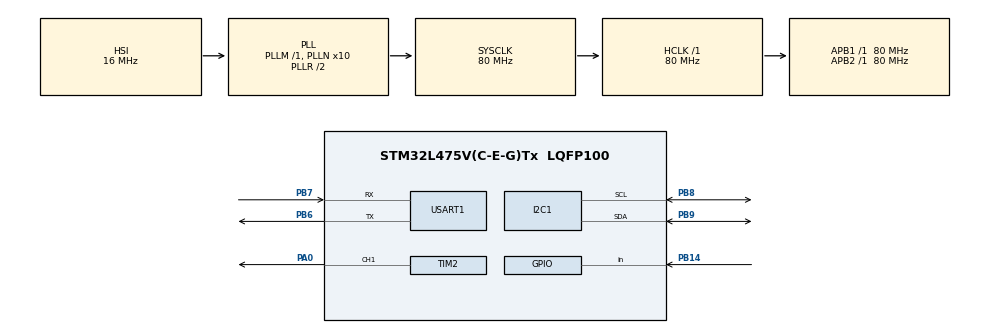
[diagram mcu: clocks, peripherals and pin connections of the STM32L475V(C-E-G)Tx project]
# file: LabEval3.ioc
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I2C1.Timing=0x10D19CE4
Mcu.Family=STM32L4
Mcu.Name=STM32L475V(C-E-G)Tx
Mcu.Package=LQFP100
NVIC.PriorityGroup=NVIC_PRIORITYGROUP_4
PA0.Signal=S_TIM2_CH1
PB14.Signal=GPIO_Input
PB6.Mode=Asynchronous
PB6.Signal=USART1_TX
PB7.Mode=Asynchronous
PB7.Signal=USART1_RX
PB8.Mode=I2C
PB8.Signal=I2C1_SCL
PB9.Mode=I2C
PB9.Signal=I2C1_SDA
PC14-OSC32_IN\ (PC14).Mode=LSE-External-Clock-Source
PC14-OSC32_IN\ (PC14).Signal=RCC_OSC32_IN
PH0-OSC_IN\ (PH0).Mode=HSE-External-Clock-Source
PH0-OSC_IN\ (PH0).Signal=RCC_OSC_IN
ProjectManager.HeapSize=0x200
ProjectManager.StackSize=0x400
ProjectManager.TargetToolchain=STM32CubeIDE
RCC.ADCFreq_Value=64000000
RCC.AHBFreq_Value=80000000
RCC.APB1Freq_Value=80000000
RCC.APB1TimFreq_Value=80000000
RCC.APB2Freq_Value=80000000
RCC.APB2TimFreq_Value=80000000
RCC.CortexFreq_Value=80000000
RCC.HCLKFreq_Value=80000000
RCC.HSE_VALUE=8000000
RCC.HSI_VALUE=16000000
RCC.LSE_VALUE=32768
RCC.MSI_VALUE=4000000
RCC.PLLN=10
RCC.PLLSourceVirtual=RCC_PLLSOURCE_HSI
RCC.SYSCLKFreq_VALUE=80000000
RCC.SYSCLKSource=RCC_SYSCLKSOURCE_PLLCLK
RCC.USBFreq_Value=64000000
RCC.VCOOutputFreq_Value=160000000
SH.S_TIM2_CH1.0=TIM2_CH1,PWM Generation1 CH1
TIM2.AutoReloadPreload=TIM_AUTORELOAD_PRELOAD_ENABLE
TIM2.Channel-PWM\ Generation1\ CH1=TIM_CHANNEL_1
TIM2.Period=19999
TIM2.Prescaler=79
USART1.VirtualMode-Asynchronous=VM_ASYNC
VP_TIM2_VS_ClockSourceINT.Mode=Internal
board=custom

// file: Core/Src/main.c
/* USER CODE BEGIN Header */
/**
  ******************************************************************************
  * @file           : main.c
  * @brief          : Main program body
  ******************************************************************************
  * @attention
  *
  * Copyright (c) 2026 STMicroelectronics.
  * All rights reserved.
  *
  * This software is licensed under terms that can be found in the LICENSE file
  * in the root directory of this software component.
  * If no LICENSE file comes with this software, it is provided AS-IS.
  *
  ******************************************************************************
  */
/* USER CODE END Header */
#include "main.h"
#include "stm32l475e_iot01.h"
#include "stm32l475e_iot01_tsensor.h"
#include <stdio.h>
#include <string.h>

/* USER CODE BEGIN PD */
#define SERVO_MIN_PULSE 500
#define SERVO_MAX_PULSE 2500
/* USER CODE END PD */

I2C_HandleTypeDef hi2c1;

TIM_HandleTypeDef htim2;

UART_HandleTypeDef huart1;

/* USER CODE BEGIN PV */
char uart_buf[100];
float temperature;
uint8_t angle;
char status[10];
/* USER CODE END PV */

void SystemClock_Config(void);
static void MX_GPIO_Init(void);
static void MX_TIM2_Init(void);
static void MX_USART1_UART_Init(void);
static void MX_I2C1_Init(void);
/* USER CODE BEGIN PFP */
void set_servo_angle(uint8_t angle);
/* USER CODE END PFP */

int main(void)
{

  /* MCU Configuration--------------------------------------------------------*/

  /* Reset of all peripherals, Initializes the Flash interface and the Systick. */
  HAL_Init();

  /* Configure the system clock */
  SystemClock_Config();

  /* Initialize all configured peripherals */
  MX_GPIO_Init();
  MX_TIM2_Init();
  MX_USART1_UART_Init();
  MX_I2C1_Init();
  /* USER CODE BEGIN 2 */

  BSP_TSENSOR_Init();   // initialize onboard temp sensor
  HAL_TIM_PWM_Start(&htim2, TIM_CHANNEL_1);

  /* USER CODE END 2 */

  /* Infinite loop */
  /* USER CODE BEGIN WHILE */
  while (1)
  {
    /* Read temperature */
    temperature = BSP_TSENSOR_ReadTemp();

    /* Decision logic */
    if (temperature < 33.0)
    {
      angle = 0;
      strcpy(status, "SAFE");
    }
    else
    {
      angle = 90;
      strcpy(status, "WARNING");
    }

    /* Control servo */
    set_servo_angle(angle);

    /* Format telemetry */
    sprintf(uart_buf, "T:%.1fC|ANG:%d|STAT:%s\r\n",
            temperature, angle, status);

    /* Send via UART */
    HAL_UART_Transmit(&huart1,
                      (uint8_t*)uart_buf,
                      strlen(uart_buf),
                      HAL_MAX_DELAY);

    HAL_Delay(5000);
  }
  /* USER CODE END 3 */
}

void SystemClock_Config(void)
{
  RCC_OscInitTypeDef RCC_OscInitStruct = {0};
  RCC_ClkInitTypeDef RCC_ClkInitStruct = {0};

  /** Configure the main internal regulator output voltage
  */
  if (HAL_PWREx_ControlVoltageScaling(PWR_REGULATOR_VOLTAGE_SCALE1) != HAL_OK)
  {
    Error_Handler();
  }

  /** Initializes the RCC Oscillators according to the specified parameters
  * in the RCC_OscInitTypeDef structure.
  */
  RCC_OscInitStruct.OscillatorType = RCC_OSCILLATORTYPE_HSI;
  RCC_OscInitStruct.HSIState = RCC_HSI_ON;
  RCC_OscInitStruct.HSICalibrationValue = RCC_HSICALIBRATION_DEFAULT;
  RCC_OscInitStruct.PLL.PLLState = RCC_PLL_ON;
  RCC_OscInitStruct.PLL.PLLSource = RCC_PLLSOURCE_HSI;
  RCC_OscInitStruct.PLL.PLLM = 1;
  RCC_OscInitStruct.PLL.PLLN = 10;
  RCC_OscInitStruct.PLL.PLLP = RCC_PLLP_DIV7;
  RCC_OscInitStruct.PLL.PLLQ = RCC_PLLQ_DIV2;
  RCC_OscInitStruct.PLL.PLLR = RCC_PLLR_DIV2;
  if (HAL_RCC_OscConfig(&RCC_OscInitStruct) != HAL_OK)
  {
    Error_Handler();
  }

  /** Initializes the CPU, AHB and APB buses clocks
  */
  RCC_ClkInitStruct.ClockType = RCC_CLOCKTYPE_HCLK|RCC_CLOCKTYPE_SYSCLK
                              |RCC_CLOCKTYPE_PCLK1|RCC_CLOCKTYPE_PCLK2;
  RCC_ClkInitStruct.SYSCLKSource = RCC_SYSCLKSOURCE_PLLCLK;
  RCC_ClkInitStruct.AHBCLKDivider = RCC_SYSCLK_DIV1;
  RCC_ClkInitStruct.APB1CLKDivider = RCC_HCLK_DIV1;
  RCC_ClkInitStruct.APB2CLKDivider = RCC_HCLK_DIV1;

  if (HAL_RCC_ClockConfig(&RCC_ClkInitStruct, FLASH_LATENCY_4) != HAL_OK)
  {
    Error_Handler();
  }
}

static void MX_I2C1_Init(void)
{

  hi2c1.Instance = I2C1;
  hi2c1.Init.Timing = 0x10D19CE4;
  hi2c1.Init.OwnAddress1 = 0;
  hi2c1.Init.AddressingMode = I2C_ADDRESSINGMODE_7BIT;
  hi2c1.Init.DualAddressMode = I2C_DUALADDRESS_DISABLE;
  hi2c1.Init.OwnAddress2 = 0;
  hi2c1.Init.OwnAddress2Masks = I2C_OA2_NOMASK;
  hi2c1.Init.GeneralCallMode = I2C_GENERALCALL_DISABLE;
  hi2c1.Init.NoStretchMode = I2C_NOSTRETCH_DISABLE;
  if (HAL_I2C_Init(&hi2c1) != HAL_OK)
  {
    Error_Handler();
  }

  /** Configure Analogue filter
  */
  if (HAL_I2CEx_ConfigAnalogFilter(&hi2c1, I2C_ANALOGFILTER_ENABLE) != HAL_OK)
  {
    Error_Handler();
  }

  /** Configure Digital filter
  */
  if (HAL_I2CEx_ConfigDigitalFilter(&hi2c1, 0) != HAL_OK)
  {
    Error_Handler();
  }

}

static void MX_TIM2_Init(void)
{

  TIM_ClockConfigTypeDef sClockSourceConfig = {0};
  TIM_MasterConfigTypeDef sMasterConfig = {0};
  TIM_OC_InitTypeDef sConfigOC = {0};

  htim2.Instance = TIM2;
  htim2.Init.Prescaler = 79;
  htim2.Init.CounterMode = TIM_COUNTERMODE_UP;
  htim2.Init.Period = 19999;
  htim2.Init.ClockDivision = TIM_CLOCKDIVISION_DIV1;
  htim2.Init.AutoReloadPreload = TIM_AUTORELOAD_PRELOAD_ENABLE;
  if (HAL_TIM_Base_Init(&htim2) != HAL_OK)
  {
    Error_Handler();
  }
  sClockSourceConfig.ClockSource = TIM_CLOCKSOURCE_INTERNAL;
  if (HAL_TIM_ConfigClockSource(&htim2, &sClockSourceConfig) != HAL_OK)
  {
    Error_Handler();
  }
  if (HAL_TIM_PWM_Init(&htim2) != HAL_OK)
  {
    Error_Handler();
  }
  sMasterConfig.MasterOutputTrigger = TIM_TRGO_RESET;
  sMasterConfig.MasterSlaveMode = TIM_MASTERSLAVEMODE_DISABLE;
  if (HAL_TIMEx_MasterConfigSynchronization(&htim2, &sMasterConfig) != HAL_OK)
  {
    Error_Handler();
  }
  sConfigOC.OCMode = TIM_OCMODE_PWM1;
  sConfigOC.Pulse = 0;
  sConfigOC.OCPolarity = TIM_OCPOLARITY_HIGH;
  sConfigOC.OCFastMode = TIM_OCFAST_DISABLE;
  if (HAL_TIM_PWM_ConfigChannel(&htim2, &sConfigOC, TIM_CHANNEL_1) != HAL_OK)
  {
    Error_Handler();
  }
  HAL_TIM_MspPostInit(&htim2);

}

static void MX_USART1_UART_Init(void)
{

  huart1.Instance = USART1;
  huart1.Init.BaudRate = 9600;
  huart1.Init.WordLength = UART_WORDLENGTH_8B;
  huart1.Init.StopBits = UART_STOPBITS_1;
  huart1.Init.Parity = UART_PARITY_NONE;
  huart1.Init.Mode = UART_MODE_TX_RX;
  huart1.Init.HwFlowCtl = UART_HWCONTROL_NONE;
  huart1.Init.OverSampling = UART_OVERSAMPLING_16;
  huart1.Init.OneBitSampling = UART_ONE_BIT_SAMPLE_DISABLE;
  huart1.AdvancedInit.AdvFeatureInit = UART_ADVFEATURE_NO_INIT;
  if (HAL_UART_Init(&huart1) != HAL_OK)
  {
    Error_Handler();
  }

}

static void MX_GPIO_Init(void)
{
  GPIO_InitTypeDef GPIO_InitStruct = {0};

  /* GPIO Ports Clock Enable */
  __HAL_RCC_GPIOC_CLK_ENABLE();
  __HAL_RCC_GPIOH_CLK_ENABLE();
  __HAL_RCC_GPIOB_CLK_ENABLE();
  __HAL_RCC_GPIOA_CLK_ENABLE();

  /*Configure GPIO pin : PB14 */
  GPIO_InitStruct.Pin = GPIO_PIN_14;
  GPIO_InitStruct.Mode = GPIO_MODE_INPUT;
  GPIO_InitStruct.Pull = GPIO_NOPULL;
  HAL_GPIO_Init(GPIOB, &GPIO_InitStruct);

}

/* USER CODE BEGIN 4 */
void set_servo_angle(uint8_t angle)
{
  uint32_t pulse;

  if (angle > 180) angle = 180;

  pulse = SERVO_MIN_PULSE +
          (SERVO_MAX_PULSE - SERVO_MIN_PULSE) * angle / 180;

  __HAL_TIM_SET_COMPARE(&htim2, TIM_CHANNEL_1, pulse);
}
/* USER CODE END 4 */

void Error_Handler(void)
{
  __disable_irq();
  while (1)
  {
  }
}
